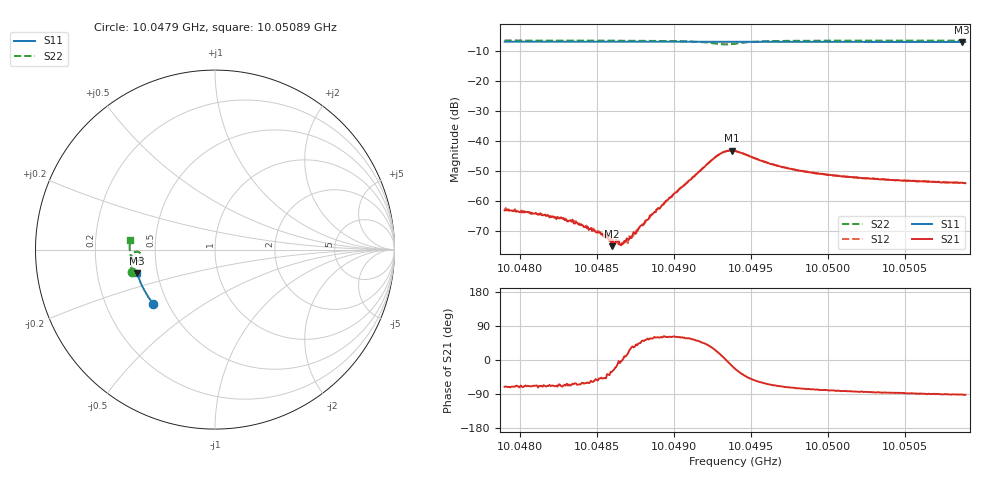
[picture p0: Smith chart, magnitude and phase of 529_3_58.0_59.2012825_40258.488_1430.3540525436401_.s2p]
#  HZ  S  RI  R  50.00
! Rohde & Schwarz Vector Network Analyzer
! Rohde-Schwarz,ZNB20-2Port,1311601062101988,3.16
! Created: UTC 3/21/2024, 1:14:02 AM
! freq[Hz]  re:S11  im:S11  re:S21  im:S21  re:S12  im:S12  re:S22  im:S22
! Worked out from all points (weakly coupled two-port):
!   401 points, 10.0479 GHz to 10.05089 GHz, reference 50 ohm
!   highest |S21| = -43.12 dB at 10.04937 GHz (marker M1); lowest = -74.9 dB at 10.04859 GHz (marker M2)
!   lowest |S11| = -6.9 dB at 10.05087 GHz (marker M3), VSWR 2.65, Z = 19.2 - j6.29 ohm
!   |S11| at or under -10 dB: nowhere
!   |S22| runs from -7.7 to -6.4 dB; largest |S21 - S12| = 0.00049
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1.0047899e10  -0.3436 -0.3018  0.000233 -0.000664  0.000319 -0.000647  -0.4615 -0.1251
1.0048026e10  -0.3489 -0.2952  0.00023 -0.000611  0.000281 -0.000624  -0.4634 -0.1166
1.0048266e10  -0.3586 -0.2827  0.000197 -0.000505  0.000212 -0.000467  -0.4665 -0.0997
1.00484e10  -0.3639 -0.2755  0.0002 -0.000351  0.000237 -0.000332  -0.468 -0.0899
1.0048475e10  -0.3666 -0.2715  0.000177 -0.000275  0.000221 -0.000275  -0.4687 -0.0842
1.004855e10  -0.3695 -0.2675  0.000188 -0.000203  0.000216 -0.000174  -0.4694 -0.0785
1.0048595e10  -0.3711 -0.2651  0.000153 -9.33e-05  0.000195 -8.83e-05  -0.4696 -0.0752
1.0048647e10  -0.373 -0.2623  0.000188 -2.63e-05  0.00021 -1.31e-05  -0.47 -0.0706
1.0048662e10  -0.3735 -0.2612  0.000192 -4.74e-06  0.000201 2.42e-05  -0.4699 -0.0695
1.0048685e10  -0.3742 -0.2601  0.000208 3.32e-05  0.00021 6.12e-05  -0.47 -0.0677
1.0048737e10  -0.3762 -0.2573  0.000256 0.000169  0.000207 0.000169  -0.4701 -0.0632
1.0048857e10  -0.3804 -0.2504  0.000335 0.000511  0.000301 0.000522  -0.4695 -0.0523
1.0048902e10  -0.382 -0.2479  0.000391 0.00066  0.000338 0.000668  -0.469 -0.0478
1.0049269e10  -0.3935 -0.2269  0.00488 0.00237  0.00477 0.00273  -0.4247 -0.014
1.0049321e10  -0.395 -0.224  0.00656 0.000795  0.00653 0.0012  -0.4112 -0.0284
1.0049373e10  -0.3966 -0.2211  0.00675 -0.00179  0.00692 -0.00133  -0.4128 -0.0495
1.0049396e10  -0.3972 -0.2198  0.0063 -0.0027  0.00654 -0.00227  -0.4182 -0.0563
1.0049658e10  -0.4052 -0.2048  0.00156 -0.00368  0.00179 -0.00361  -0.4664 -0.0424
1.0049897e10  -0.4119 -0.1904  0.000664 -0.00292  0.000823 -0.00291  -0.4737 -0.0183
1.0050399e10  -0.4239 -0.1598  0.00014 -0.00227  0.000259 -0.00224  -0.4754 0.0214
1.0050871e10  -0.4329 -0.1302  -4.61e-05 -0.00205  7.45e-05 -0.00201  -0.4728 0.0545
1.0050893e10  -0.4334 -0.1289  -5.87e-05 -0.002  4.08e-05 -0.00201  -0.4726 0.0561
